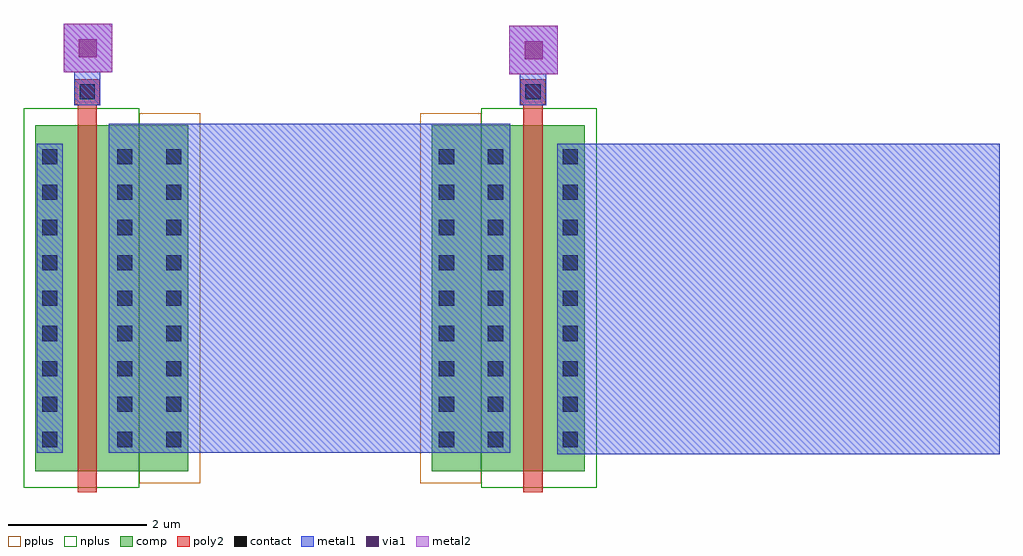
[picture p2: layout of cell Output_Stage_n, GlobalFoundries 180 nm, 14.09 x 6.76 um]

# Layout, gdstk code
from math import pi, radians
import gdstk
lib = gdstk.Library(unit=1e-6, precision=1e-09)
def R(c, l, rs):  # rectangles x0, y0, x1, y1
    for r in rs: c.add(gdstk.rectangle(r[:2], r[2:], *l))
def A(c, l, x, y, w, h, nx, ny, dx, dy):  # array of equal rectangles
    R(c, l, [(x+i*dx, y+j*dy, x+i*dx+w, y+j*dy+h) for i in range(nx) for j in range(ny)])
comp = (22, 0)
poly2 = (30, 0)
pplus = (31, 0)
nplus = (32, 0)
contact = (33, 0)
metal1 = (34, 0)
via1 = (35, 0)
metal2 = (36, 0)

nfet = lib.new_cell('nfet')
R(nfet, comp, [(-0.42,0,0,5), (0,0,0.66,5), (0.66,0,1.08,5), (1.08,0,1.79,5)])
R(nfet, poly2, [(0.19,-0.3,0.47,5.3), (0.15,5.3,0.51,5.66)])
R(nfet, pplus, [(1.08,-0.17,1.96,5.17)])
R(nfet, nplus, [(-0.59,-0.24,1.08,5.24)])
A(nfet, contact, -0.32, 0.35, 0.22, 0.22, 1, 9, 0, 0.51)
A(nfet, contact, 0.76, 0.35, 0.22, 0.22, 1, 9, 0, 0.51)
A(nfet, contact, 1.47, 0.35, 0.22, 0.22, 1, 9, 0, 0.51)
R(nfet, contact, [(0.22,5.37,0.44,5.59)])
R(nfet, metal1, [(-0.4,0.27,-0.02,4.73), (0.68,0.27,1.06,4.73), (1.39,0.27,1.77,4.73), (0.14,5.289,0.52,5.671)])

via_dev_3 = lib.new_cell('via_dev$3')
R(via_dev_3, metal1, [(0,0,0.7,0.7)])
R(via_dev_3, via1, [(0.22,0.22,0.48,0.48)])
R(via_dev_3, metal2, [(0,0,0.7,0.7)])

output_stage_n = lib.new_cell('Output_Stage_n')
R(output_stage_n, metal1, [(12.105,1.06,18.49,5.54), (5.63,1.075,11.43,5.83), (5.13,6.095,5.51,6.1), (11.565,6.095,11.945,6.1), (11.565,6.285,11.945,6.68), (5.13,6.295,5.51,6.67)])
output_stage_n.add(gdstk.Reference(nfet, (12.085,0.81), rotation=pi, x_reflection=True))
output_stage_n.add(gdstk.Reference(nfet, (4.99,0.81)))
output_stage_n.add(gdstk.Reference(via_dev_3, (5.68,6.57), rotation=pi/2))
output_stage_n.add(gdstk.Reference(via_dev_3, (12.115,6.54), rotation=pi/2))

lib.write_gds('Output_Stage_n.gds')
